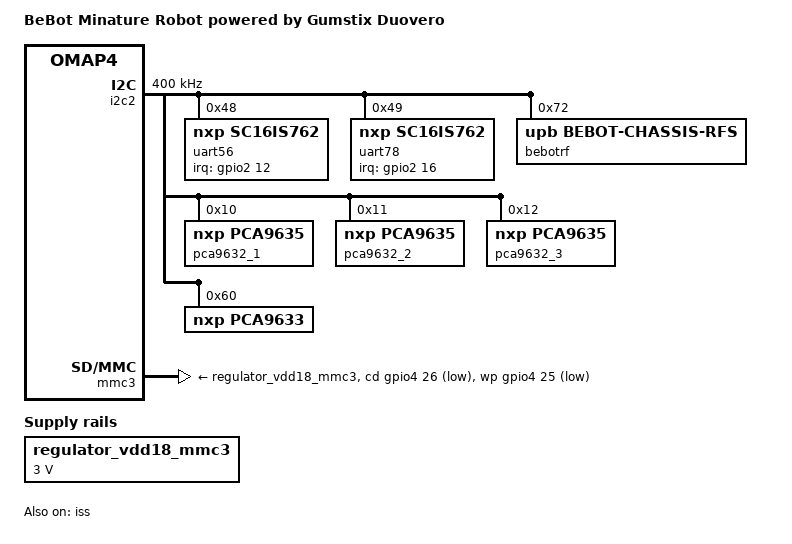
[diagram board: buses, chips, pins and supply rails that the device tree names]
/*
 * Copyright (C) 2014 Florian Vaussard, EPFL Mobots group
 *
 * This program is free software; you can redistribute it and/or modify
 * it under the terms of the GNU General Public License version 2 as
 * published by the Free Software Foundation.
 */
/dts-v1/;

#include "omap4-duovero.dtsi"

#include <dt-bindings/input/input.h>

/ {
	model = "BeBot Minature Robot powered by Gumstix Duovero";
	compatible = "upb,omap4-duovero-bebot", "gumstix,omap4-duovero", "ti,omap4430", "ti,omap4";

	ocp {
		iss: iss@52000000 {
			compatible = "ti,omap4-iss";
			reg = <0x52000000 0x100>, /* top */
			      <0x52001000 0x170>, /* csi2_a_regs1 */
			      <0x52001170 0x020>, /* camerarx_core1 */
			      <0x52001400 0x170>, /* csi2_b_regs1 */
			      <0x52001570 0x020>, /* camerarx_core2 */
			      <0x52002000 0x200>, /* bte */
			      <0x52010000 0x0a0>, /* isp_sys1 */
			      <0x52010400 0x400>, /* isp_resizer */
			      <0x52010800 0x800>, /* isp_ipipe */
			      <0x52011000 0x200>, /* isp_isif */
			      <0x52011200 0x080>; /* isp_ipipeif */
			reg-names = "top",
			            "csi2_a_regs1",
			            "camerarx_core1",
			            "csi2_b_regs1",
			            "camerarx_core2",
			            "bte",
			            "isp_sys1",
			            "isp_resizer",
			            "isp_ipipe",
			            "isp_isif",
			            "isp_ipipeif";
			status = "ok";
			ti,hwmods = "iss";
			interrupts = <GIC_SPI 24 IRQ_TYPE_LEVEL_HIGH>;
			//clocks = <&ducati_clk_mux_ck>, <&iss_ctrlclk>;
			//clock-names = "fck", "iss_ctrlclk";
			dmas = <&sdma 9>, <&sdma 10>, <&sdma 12>, <&sdma 13>;
			dma-names = "1", "2", "3", "4";

		        csi21: csi2 {
				endpoint {
					channel = "0";
					clock-lanes = <0>;
					data-lanes = <1>;
					//remote-endpoint = <&ov5640_1>;
				};
			};
		};
	};

	regulator_vdd18_mmc3: regulator_vdd18_mmc3 {
		compatible = "regulator-fixed";
		regulator-name = "vdd18-mmc3";
		regulator-min-microvolt = <3000000>;
		regulator-max-microvolt = <3000000>;
		regulator-always-on;
	};
};

&omap4_pmx_core {
	pinctrl-0 = <
			&uart56ctrl_pins
			&uart78ctrl_pins
			&xbeectrl_pins
	>;
	
	i2c2_pins: pinmux_i2c2_pins {
		pinctrl-single,pins = <
			OMAP4_IOPAD(0x126, PIN_INPUT_PULLUP | MUX_MODE0)	/* i2c2_scl */
			OMAP4_IOPAD(0x128, PIN_INPUT_PULLUP | MUX_MODE0)	/* i2c2_sda */
		>;
	};

	i2c3_pins: pinmux_i2c3_pins {
		pinctrl-single,pins = <
			OMAP4_IOPAD(0x12a, PIN_INPUT_PULLUP | MUX_MODE0)	/* i2c3_scl */
			OMAP4_IOPAD(0x12c, PIN_INPUT_PULLUP | MUX_MODE0)	/* i2c3_sda */
		>;
	};

	uart56ctrl_pins: pinmux_uart56ctrl_pins {
		pinctrl-single,pins = <
			OMAP4_IOPAD(0x068, PIN_INPUT_PULLUP | MUX_MODE3)	/* gpmc_a20.gpio_44: uart56_irq */
			OMAP4_IOPAD(0x06a, PIN_INPUT_PULLUP | MUX_MODE3)	/* gpmc_a21.gpio_45: uart56_nrst */
			OMAP4_IOPAD(0x0bc, PIN_OUTPUT | MUX_MODE3)		/* cam_shutter.gpio_81: uart56_clk_en */
		>;
	};

	uart78ctrl_pins: pinmux_uart78ctrl_pins {
		pinctrl-single,pins = <
			OMAP4_IOPAD(0x070, PIN_INPUT_PULLUP | MUX_MODE3)	/* gpmc_a24.gpio_48: uart78_irq */
			OMAP4_IOPAD(0x06c, PIN_INPUT_PULLUP | MUX_MODE3)	/* gpmc_a24.gpio_46: uart78_nrst */
			OMAP4_IOPAD(0x0be, PIN_OUTPUT | MUX_MODE3)		/* cam_strobe.gpio_82: uart78_clk_en */
		>;
	};

	xbeectrl_pins: pinmux_xbeectrl_pins {
		pinctrl-single,pins = <
			OMAP4_IOPAD(0x0c0, PIN_OUTPUT | MUX_MODE3)		/* cam_reset.gpio_83: xbee_en */
		>;
	};

	mmc3_pins: pinmux_mmc3_pins {
		pinctrl-single,pins = <
			OMAP4_IOPAD(0x114, PIN_INPUT | MUX_MODE3)		/* abe_dmic_din2.gpio_121: sdmmc3_wp */
			OMAP4_IOPAD(0x116, PIN_INPUT | MUX_MODE3)		/* abe_dmic_din3.gpio_122: sdmmc3_cd */
			OMAP4_IOPAD(0x174, PIN_INPUT | MUX_MODE2)		/* usbb2_ulpitll_dat6.sdmcc3_cmd */
			OMAP4_IOPAD(0x176, PIN_INPUT | MUX_MODE2)		/* usbb2_ulpitll_dat7.sdmmc3_clk */
			OMAP4_IOPAD(0x11c, PIN_INPUT | MUX_MODE1)		/* uart2_rx.sdmcc3_dat0 */
			OMAP4_IOPAD(0x11e, PIN_INPUT | MUX_MODE1)		/* uart2_tx.sdmcc3_dat1 */
		>;
	};


	iss_csi21_pins: pinmux_iss_csi21_pins {
		pinctrl-single,pins = <
			OMAP4_IOPAD(0x0a0, PIN_INPUT | MUX_MODE0)		/* csi21_dx0.csi21_dx0 */
			OMAP4_IOPAD(0x0a2, PIN_INPUT | MUX_MODE0)		/* csi21_dy0.csi21_dy0 */
			OMAP4_IOPAD(0x0a4, PIN_INPUT | MUX_MODE0)		/* csi21_dx1.csi21_dx1 */
			OMAP4_IOPAD(0x0a6, PIN_INPUT | MUX_MODE0)		/* csi21_dy1.csi21_dy1 */
			OMAP4_IOPAD(0x0a8, PIN_INPUT | MUX_MODE0)		/* csi21_dx2.csi21_dx2 */
			OMAP4_IOPAD(0x0aa, PIN_INPUT | MUX_MODE0)		/* csi21_dy2.csi21_dy2 */
		>;
	};
};

&i2c2 {
	pinctrl-names = "default";
	pinctrl-0 = <&i2c2_pins>;

	clock-frequency = <400000>;

	uart56: sc16is762@48 {
                compatible = "nxp,sc16is762";
                reg = <0x48>;
                clocks = <&uart56_clk>;

		interrupt-parent = <&gpio2>;
		interrupts = <12 IRQ_TYPE_EDGE_FALLING>; /* gpmc_a20.gpio_44 */

		uart56_osc: uart56_osc {
			compatible = "fixed-clock";
			#clock-cells = <0>;
			clock-frequency = <1843200>;
		};

		uart56_clk: uart56_clk {
			compatible = "gpio-gate-clock";
			clocks = <&uart56_osc>;
			#clock-cells = <0>;
			enable-gpios = <&gpio3 17 GPIO_ACTIVE_HIGH>; /* cam_shutter.gpio_81: uart56_clk_en */
		};
	};

	uart78: sc16is762@49 {
                compatible = "nxp,sc16is762";
                reg = <0x49>;
                clocks = <&uart78_clk>;

		interrupt-parent = <&gpio2>;
		interrupts = <16 IRQ_TYPE_EDGE_FALLING>; /* gpmc_a24.gpio_48 */

		uart78_osc: uart78_osc {
			compatible = "fixed-clock";
			#clock-cells = <0>;
			clock-frequency = <1843200>;
		};

		uart78_clk: uart78_clk {
			compatible = "gpio-gate-clock";
			clocks = <&uart78_osc>;
			#clock-cells = <0>;
			enable-gpios = <&gpio3 18 GPIO_ACTIVE_HIGH>; /* cam_strobe.gpio_82: uart78_clk_en */
		};
	};

	bebotrf: bebotrf@72 {
		compatible = "upb,bebot-chassis-rfs";
		#address-cells = <1>;
		#size-cells = <0>;
		reg = <0x72>;

		rfring0@0 {
			label = "rf_ring[0]";
			reg = <0>;
		};
		rfring1@1 {
			label = "rf_ring[1]";
			reg = <1>;
		};
		rfring2@2 { 
			label = "rf_ring[2]";
			reg = <2>;
		};
		rfring3@3 { 
			label = "rf_ring[3]";
			reg = <3>;
		};
		rfring4@4 { 
			label = "rf_ring[4]"; reg = <4>; };
		rfring5@5 { 
			label = "rf_ring[5]"; reg = <5>; };
		rfring6@6 { 
			label = "rf_ring[6]"; reg = <6>; };
		rfring7@7 { 
			label = "rf_ring[7]"; reg = <7>; };
		rfring8@8 { 
			label = "rf_ring[8]"; reg = <8>; };
		rfring9@9 { 
			label = "rf_ring[9]"; reg = <9>; };
		rfring10@10 { label = "rf_ring[10]"; reg = <10>; };
		rfring11@11 { label = "rf_ring[11]"; reg = <11>; };
	};

	pca9632_1: pca9632@10 {
		compatible = "nxp,pca9635";
		#address-cells = <1>;
		#size-cells = <0>;
		reg = <0x10>;

		leddeck1_red@0    { label = "led_deck[1]:red";   reg = <0>; };
		leddeck1_green@1  { label = "led_deck[1]:green"; reg = <1>; };
		leddeck1_blue@2   { label = "led_deck[1]:blue";  reg = <2>; };
		leddeck2_red@4    { label = "led_deck[2]:red";   reg = <4>; };
		leddeck2_green@5  { label = "led_deck[2]:green"; reg = <5>; };
		leddeck2_blue@6   { label = "led_deck[2]:blue";  reg = <6>; };
		leddeck3_red@8    { label = "led_deck[3]:red";   reg = <8>; };
		leddeck3_green@9  { label = "led_deck[3]:green"; reg = <9>; };
		leddeck3_blue@10  { label = "led_deck[3]:blue";  reg = <10>; };
		leddeck4_red@12   { label = "led_deck[4]:red";   reg = <12>; };
		leddeck4_green@13 { label = "led_deck[4]:green"; reg = <13>; };
		leddeck4_blue@14  { label = "led_deck[4]:blue";  reg = <14>; };
		unused0@3  { reg = <3>; };
		unused1@7  { reg = <7>; };
		unused2@11 { reg = <11>; };
		unused3@15 { reg = <15>; };
	};

	pca9632_2: pca9632@11 {
		compatible = "nxp,pca9635";
		#address-cells = <1>;
		#size-cells = <0>;
		reg = <0x11>;

		leddeck5_red@0    { label = "led_deck[5]:red";   reg = <0>; };
		leddeck5_green@1  { label = "led_deck[5]:green"; reg = <1>; };
		leddeck5_blue@2   { label = "led_deck[5]:blue";  reg = <2>; };
		leddeck6_red@4    { label = "led_deck[6]:red";   reg = <4>; };
		leddeck6_green@5  { label = "led_deck[6]:green"; reg = <5>; };
		leddeck6_blue@6   { label = "led_deck[6]:blue";  reg = <6>; };
		leddeck7_red@8    { label = "led_deck[7]:red";   reg = <8>; };
		leddeck7_green@9  { label = "led_deck[7]:green"; reg = <9>; };
		leddeck7_blue@10  { label = "led_deck[7]:blue";  reg = <10>; };
		leddeck8_red@12   { label = "led_deck[8]:red";   reg = <12>; };
		leddeck8_green@13 { label = "led_deck[8]:green"; reg = <13>; };
		leddeck8_blue@14  { label = "led_deck[8]:blue";  reg = <14>; };
		unused4@3  { reg = <3>; };
		unused5@7  { reg = <7>; };
		unused6@11 { reg = <11>; };
		unused7@15 { reg = <15>; };
	};

	pca9632_3: pca9632@12 {
		compatible = "nxp,pca9635";
		#address-cells = <1>;
		#size-cells = <0>;
		reg = <0x12>;

		leddeck9_red@0 { 
			label = "led_deck[9]:red";
			reg = <0>;
		};
		leddeck9_green@1   { label = "led_deck[9]:green";  reg = <1>; };
		leddeck9_blue@2    { label = "led_deck[9]:blue";   reg = <2>; };
		leddeck10_red@4    { label = "led_deck[10]:red";   reg = <4>; };
		leddeck10_green@5  { label = "led_deck[10]:green"; reg = <5>; };
		leddeck10_blue@6   { label = "led_deck[10]:blue";  reg = <6>; };
		leddeck11_red@8    { label = "led_deck[11]:red";   reg = <8>; };
		leddeck11_green@9  { label = "led_deck[11]:green"; reg = <9>; };
		leddeck11_blue@10  { label = "led_deck[11]:blue";  reg = <10>; };
		leddeck12_red@12   { label = "led_deck[12]:red";   reg = <12>; };
		leddeck12_green@13 { label = "led_deck[12]:green"; reg = <13>; };
		leddeck12_blue@14  { label = "led_deck[12]:blue";  reg = <14>; };
		unused8@3   { reg = <3>; };
		unused9@7   { reg = <7>; };
		unused10@11 { reg = <11>; };
		unused11@15 { reg = <15>; };
	};

	pca9633: pca9633@60 {
		compatible = "nxp,pca9633";
		#address-cells = <1>;
		#size-cells = <0>;
		reg = <0x60>;

		green@0 {
			reg = <0>;
			label = "xbee_rxtx";
			linux,default-trigger = "none";
		};
		green@1 {
			reg = <1>;
			label = "wlan_rxtx";
			linux,default-trigger = "none";
		};
		green@2 {
			reg = <2>;
			label = "dev_rxtx";
			linux,default-trigger = "none";
		};
		green@3 {
			reg = <3>;
			label = "mmc_rxtx";
			linux,default-trigger = "none";
		};
	};
};
/*
&i2c3 {
	pinctrl-names = "default";
	pinctrl-0 = <&i2c3_pins>;
	status = "ok";

	clock-frequency = <100000>;

	ov5640: camera@3c {
		compatible = "omnivision,ov5640";
		status = "ok";
		reg = <0x3c>;

		pwdn-gpios = <&gpio3 18 GPIO_ACTIVE_HIGH>;	// gpio_82 - power down
		reset-gpios = <&gpio3 19 GPIO_ACTIVE_LOW>;	// gpio_83 - reset

		clocks = <&auxclk1_ck>;
		
		port {
			ov5640_1: endpoint {
				clock-lanes = <0>;
				data-lanes = <1>;
				remote-endpoint = <&csi21>;
			};
		};
	};
};
*/

&mmc3 {
	status = "ok";

	pinctrl-names = "default";
	pinctrl-0 = <&mmc3_pins>;

	ti,bus-width = <1>;
	vmmc-supply = <&regulator_vdd18_mmc3>;

	wp-gpios = <&gpio4 25 GPIO_ACTIVE_HIGH>;	/* gpio_121 */
	cd-gpios = <&gpio4 26 GPIO_ACTIVE_HIGH>;	/* gpio_122 */
	cd-inverted;
	wp-inverted;
};

&iss {
	status = "ok";

	pinctrl-names = "default";
	pinctrl-0 = <&iss_csi21_pins>;
};

